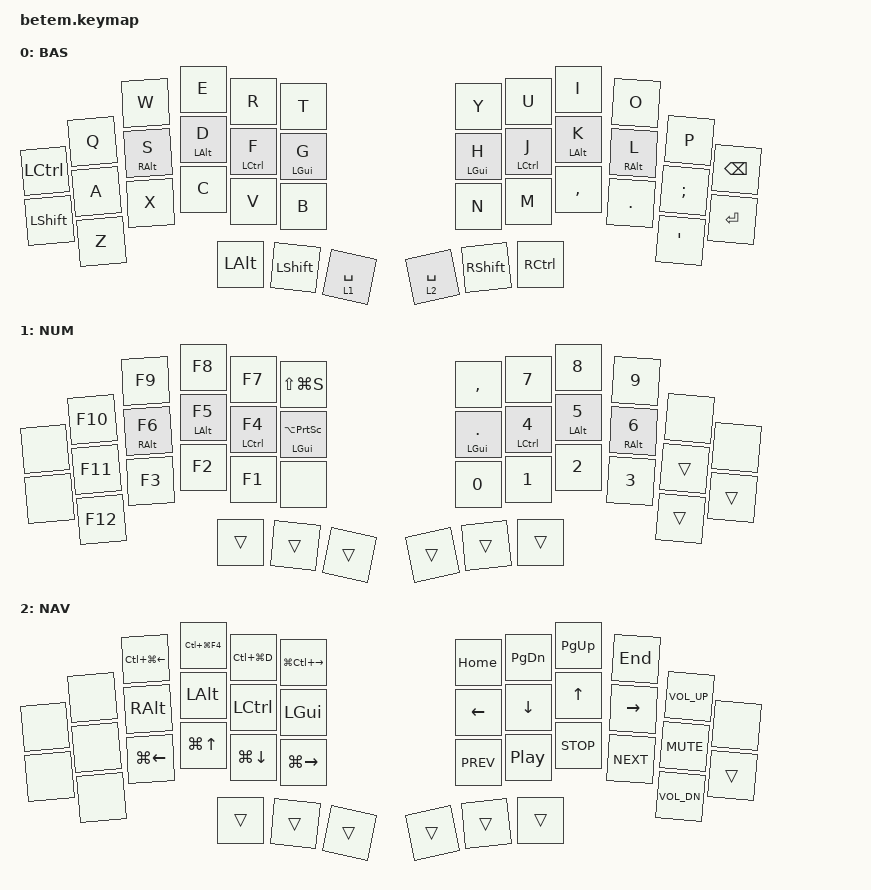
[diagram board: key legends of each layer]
/*
 * Copyright (c) 2020 The ZMK Contributors
 *
 * SPDX-License-Identifier: MIT
 */

#include <behaviors.dtsi>
#include <dt-bindings/zmk/keys.h>

/ {
    behaviors {
        hmr: hmr {
            compatible = "zmk,behavior-hold-tap";
            label = "HMR";
            bindings = <&kp>, <&kp>;

            #binding-cells = <2>;
            tapping-term-ms = <300>;
            hold-trigger-key-positions = <0 1 14 15 16 17 2 4 5 14 15 16 17 25 26 27 28 3 15 0 1 12 13 24 35 36 34>;
            hold-trigger-on-release;
            flavor = "balanced";
            require-prior-idle-ms = <150>;
            quick-tap-ms = <175>;
        };

        hml: hml {
            compatible = "zmk,behavior-hold-tap";
            label = "HML";
            bindings = <&kp>, <&kp>;

            #binding-cells = <2>;
            tapping-term-ms = <300>;
            hold-trigger-on-release;
            hold-trigger-key-positions = <6 7 9 10 11 18 19 20 21 22 23 29 30 31 32 33 38 39 37 8>;
            flavor = "balanced";
            quick-tap-ms = <175>;
            require-prior-idle-ms = <150>;
        };

        mtt: mtt {
            compatible = "zmk,behavior-hold-tap";
            label = "MTT";
            bindings = <&kp>, <&kp>;

            #binding-cells = <2>;
            tapping-term-ms = <200>;
            hold-while-undecided;
            hold-trigger-on-release;
            flavor = "tap-preferred";
        };

        hold_reset: hold_reset {
            compatible = "zmk,behavior-hold-tap";
            label = "HOLD_RESET";
            bindings = <&sys_reset>, <&none>;

            #binding-cells = <2>;
            flavor = "tap-preferred";
            tapping-term-ms = <2000>;
        };

        hold_unlock: hold_unlock {
            compatible = "zmk,behavior-hold-tap";
            label = "HOLD_UNLOCK";
            bindings = <&studio_unlock>, <&none>;

            #binding-cells = <2>;
            tapping-term-ms = <2000>;
            flavor = "tap-preferred";
        };

        hold_bootloader: hold_bootloader {
            compatible = "zmk,behavior-hold-tap";
            label = "HOLD_BOOTLOADER";
            bindings = <&bootloader>, <&none>;

            #binding-cells = <2>;
            tapping-term-ms = <2000>;
            flavor = "tap-preferred";
        };
    };

    combos {
        compatible = "zmk,combos";

        c_at {
            bindings = <&kp AT>;
            key-positions = <3 15>;
        };

        c_tick {
            bindings = <&kp GRAVE>;
            key-positions = <14 2>;
        };

        c_esc {
            bindings = <&kp ESC>;
            key-positions = <2 3>;
        };

        c_hash {
            bindings = <&kp HASH>;
            key-positions = <16 27>;
        };

        c_bslh {
            bindings = <&kp BSLH>;
            key-positions = <15 26>;
        };

        c_cpy {
            bindings = <&kp LC(C)>;
            key-positions = <26 25>;
        };

        c_paste {
            bindings = <&kp LC(V)>;
            key-positions = <26 27>;
        };

        c_cut {
            bindings = <&kp LC(X)>;
            key-positions = <27 25>;
        };

        c_equal {
            bindings = <&kp EQUAL>;
            key-positions = <6 18>;
        };

        c_dollar {
            bindings = <&kp DOLLAR>;
            key-positions = <16 4>;
        };

        c_percent {
            bindings = <&kp PERCENT>;
            key-positions = <5 17>;
        };

        c_tilde {
            bindings = <&kp TILDE>;
            key-positions = <17 28>;
        };

        c_caret {
            bindings = <&kp CARET>;
            key-positions = <18 19>;
        };

        c_under {
            bindings = <&kp UNDERSCORE>;
            key-positions = <18 29>;
        };

        c_plus {
            bindings = <&kp PLUS>;
            key-positions = <7 19>;
        };

        c_minus {
            bindings = <&kp MINUS>;
            key-positions = <19 30>;
        };

        c_bspc {
            bindings = <&kp BACKSPACE>;
            key-positions = <8 9>;
        };

        c_star {
            bindings = <&kp STAR>;
            key-positions = <8 20>;
        };

        c_fslh {
            bindings = <&kp FSLH>;
            key-positions = <20 31>;
        };

        c_pipe {
            bindings = <&kp PIPE>;
            key-positions = <21 9>;
        };

        c_lpar {
            bindings = <&kp LEFT_PARENTHESIS>;
            key-positions = <19 20>;
        };

        c_rpar {
            bindings = <&kp RPAR>;
            key-positions = <20 21>;
        };

        c_rbrace {
            bindings = <&kp RIGHT_BRACKET>;
            key-positions = <31 32>;
        };

        c_lbrace {
            bindings = <&kp LEFT_BRACKET>;
            key-positions = <31 30>;
        };

        c_excl {
            bindings = <&kp EXCL>;
            key-positions = <15 16>;
        };

        c_tab {
            bindings = <&kp TAB>;
            key-positions = <3 4>;
        };

        c_amp {
            bindings = <&kp AMPS>;
            key-positions = <16 17>;
        };

        c_del {
            bindings = <&kp DEL>;
            key-positions = <9 10>;
        };

        c_question {
            bindings = <&kp QUESTION>;
            key-positions = <14 15>;
        };

        c_space {
            bindings = <&kp SPACE>;
            key-positions = <7 8>;
        };
    };

    keymap {
        compatible = "zmk,keymap";

        BAS {
            bindings = <
&kp LCTRL  &kp Q  &kp W        &kp E        &kp R         &kp T        &kp Y        &kp U         &kp I        &kp O        &kp P             &kp BSPC
&kp LSHFT  &kp A  &hml RALT S  &hml LALT D  &hml LCTRL F  &hml LGUI G  &hmr LGUI H  &hmr LCTRL J  &hmr LALT K  &hmr RALT L  &kp SEMI          &kp RET
           &kp Z  &kp X        &kp C        &kp V         &kp B        &kp N        &kp M         &kp COMMA    &kp DOT      &kp SINGLE_QUOTE
                               &kp LALT     &kp LSHIFT    &lt 1 SPACE  &lt 2 SPACE  &kp RSHFT     &kp RCTRL
            >;
        };

        NUM {
            bindings = <
&none  &kp F10  &kp F9        &kp F8        &kp F7         &kp LS(LG(S))              &kp COMMA         &kp N7         &kp N8        &kp N9        &none   &none
&none  &kp F11  &hml RALT F6  &hml LALT F5  &hml LCTRL F4  &hml LGUI LA(PRINTSCREEN)  &hmr LGUI PERIOD  &hmr LCTRL N4  &hmr LALT N5  &hmr RALT N6  &trans  &trans
       &kp F12  &kp F3        &kp F2        &kp F1         &none                      &kp N0            &kp N1         &kp N2        &kp N3        &trans
                              &trans        &trans         &trans                     &trans            &trans         &trans
            >;
        };

        NAV {
            bindings = <
&none  &none  &kp LC(LG(LEFT))  &kp LC(LG(F4))  &kp LC(LG(D))  &kp LG(LC(RIGHT))  &kp HOME        &kp PG_DN         &kp PG_UP     &kp END          &kp C_VOL_UP  &none
&none  &none  &kp RALT          &kp LALT        &kp LCTRL      &kp LGUI           &kp LEFT_ARROW  &kp DOWN_ARROW    &kp UP_ARROW  &kp RIGHT_ARROW  &kp C_MUTE    &trans
       &none  &kp LG(LEFT)      &kp LG(UP)      &kp LG(DOWN)   &kp LG(RIGHT)      &kp C_PREV      &kp C_PLAY_PAUSE  &kp C_STOP    &kp C_NEXT       &kp C_VOL_DN
                                &trans          &trans         &trans             &trans          &trans            &trans
            >;
        };
    };

    conditional_layers { compatible = "zmk,conditional-layers"; };
};
